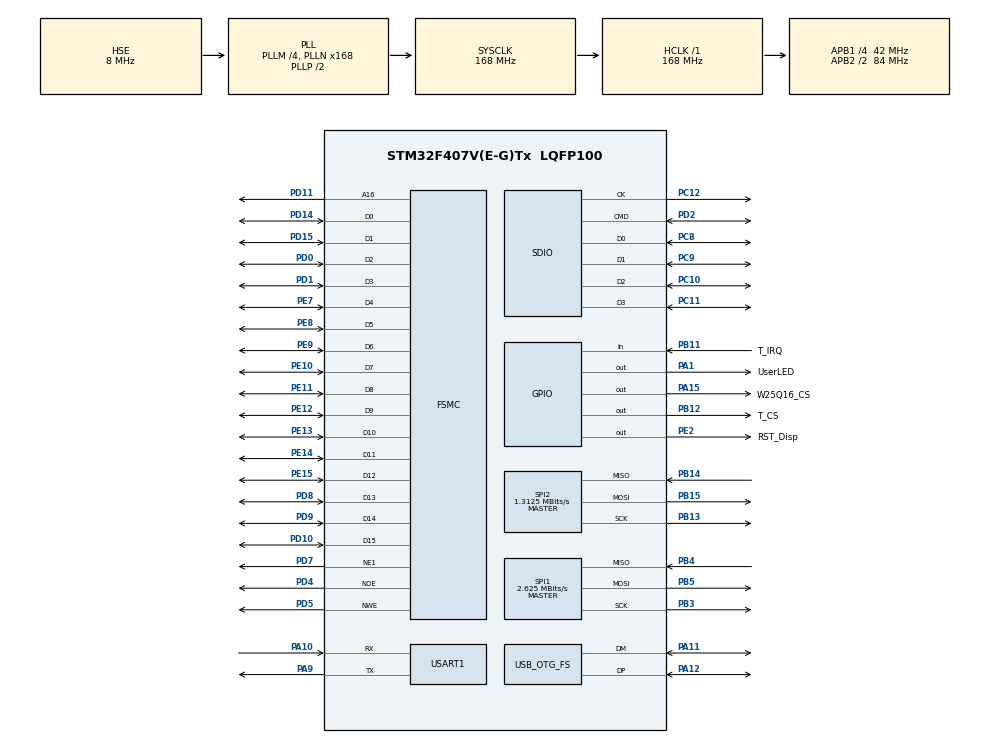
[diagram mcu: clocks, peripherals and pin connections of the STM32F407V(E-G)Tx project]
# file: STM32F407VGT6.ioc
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FATFS._FS_RPATH=1
FATFS._LFN_UNICODE=1
FATFS._MAX_SS=4096
FATFS._USE_LFN=2
FATFS._VOLUMES=2
FSMC.ExtendedAddressSetupTime1=4
FSMC.ExtendedBusTurnAroundDuration1=0
FSMC.ExtendedDataSetupTime1=8
FSMC.ExtendedMode1=FSMC_EXTENDED_MODE_ENABLE
Mcu.Family=STM32F4
Mcu.Name=STM32F407V(E-G)Tx
Mcu.Package=LQFP100
NVIC.OTG_FS_IRQn=true\:0\:0\:false\:false\:true\:false\:true\:true
NVIC.PriorityGroup=NVIC_PRIORITYGROUP_4
NVIC.USART1_IRQn=true\:0\:0\:false\:false\:true\:true\:true\:true
PA1.GPIO_Label=UserLED
PA1.GPIO_PuPd=GPIO_PULLUP
PA1.Signal=GPIO_Output
PA10.Mode=Asynchronous
PA10.Signal=USART1_RX
PA11.Mode=Device_Only
PA11.Signal=USB_OTG_FS_DM
PA12.Mode=Device_Only
PA12.Signal=USB_OTG_FS_DP
PA13.Mode=Serial_Wire
PA13.Signal=SYS_JTMS-SWDIO
PA14.Mode=Serial_Wire
PA14.Signal=SYS_JTCK-SWCLK
PA15.GPIO_Label=W25Q16_CS
PA15.PinState=GPIO_PIN_SET
PA15.Signal=GPIO_Output
PA9.Mode=Asynchronous
PA9.Signal=USART1_TX
PB11.GPIO_Label=T_IRQ
PB11.GPIO_PuPd=GPIO_PULLUP
PB11.Signal=GPIO_Input
PB12.GPIO_Label=T_CS
PB12.PinState=GPIO_PIN_SET
PB12.Signal=GPIO_Output
PB13.Mode=Full_Duplex_Master
PB13.Signal=SPI2_SCK
PB14.Mode=Full_Duplex_Master
PB14.Signal=SPI2_MISO
PB15.Mode=Full_Duplex_Master
PB15.Signal=SPI2_MOSI
PB3.Mode=Full_Duplex_Master
PB3.Signal=SPI1_SCK
PB4.Mode=Full_Duplex_Master
PB4.Signal=SPI1_MISO
PB5.Mode=Full_Duplex_Master
PB5.Signal=SPI1_MOSI
PC10.Mode=SD_4_bits_Wide_bus
PC10.Signal=SDIO_D2
PC11.Mode=SD_4_bits_Wide_bus
PC11.Signal=SDIO_D3
PC12.Mode=SD_4_bits_Wide_bus
PC12.Signal=SDIO_CK
PC14-OSC32_IN.Mode=LSE-External-Oscillator
PC14-OSC32_IN.Signal=RCC_OSC32_IN
PC15-OSC32_OUT.Mode=LSE-External-Oscillator
PC15-OSC32_OUT.Signal=RCC_OSC32_OUT
PC8.Mode=SD_4_bits_Wide_bus
PC8.Signal=SDIO_D0
PC9.Mode=SD_4_bits_Wide_bus
PC9.Signal=SDIO_D1
PD0.Mode=16b-d1
PD0.Signal=FSMC_D2
PD1.Mode=16b-d1
PD1.Signal=FSMC_D3
PD10.Mode=16b-d1
PD10.Signal=FSMC_D15
PD11.Mode=A16_1
PD11.Signal=FSMC_A16
PD14.Mode=16b-d1
PD14.Signal=FSMC_D0
PD15.Mode=16b-d1
PD15.Signal=FSMC_D1
PD2.Mode=SD_4_bits_Wide_bus
PD2.Signal=SDIO_CMD
PD4.Mode=Lcd1
PD4.Signal=FSMC_NOE
PD5.Mode=Lcd1
PD5.Signal=FSMC_NWE
PD7.Mode=NorPsramChipSelect1_1
PD7.Signal=FSMC_NE1
PD8.Mode=16b-d1
PD8.Signal=FSMC_D13
PD9.Mode=16b-d1
PD9.Signal=FSMC_D14
PE10.Mode=16b-d1
PE10.Signal=FSMC_D7
PE11.Mode=16b-d1
PE11.Signal=FSMC_D8
PE12.Mode=16b-d1
PE12.Signal=FSMC_D9
PE13.Mode=16b-d1
PE13.Signal=FSMC_D10
PE14.Mode=16b-d1
PE14.Signal=FSMC_D11
PE15.Mode=16b-d1
PE15.Signal=FSMC_D12
PE2.GPIO_Label=RST_Disp
PE2.PinState=GPIO_PIN_SET
PE2.Signal=GPIO_Output
PE7.Mode=16b-d1
PE7.Signal=FSMC_D4
PE8.Mode=16b-d1
PE8.Signal=FSMC_D5
PE9.Mode=16b-d1
PE9.Signal=FSMC_D6
PH0-OSC_IN.Mode=HSE-External-Oscillator
PH0-OSC_IN.Signal=RCC_OSC_IN
PH1-OSC_OUT.Mode=HSE-External-Oscillator
PH1-OSC_OUT.Signal=RCC_OSC_OUT
ProjectManager.HeapSize=0x200
ProjectManager.StackSize=0x2000
ProjectManager.TargetToolchain=CMake
RCC.48MHZClocksFreq_Value=48000000
RCC.AHBFreq_Value=168000000
RCC.APB1CLKDivider=RCC_HCLK_DIV4
RCC.APB1Freq_Value=42000000
RCC.APB1TimFreq_Value=84000000
RCC.APB2CLKDivider=RCC_HCLK_DIV2
RCC.APB2Freq_Value=84000000
RCC.APB2TimFreq_Value=168000000
RCC.CortexFreq_Value=168000000
RCC.HCLKFreq_Value=168000000
RCC.HSE_VALUE=8000000
RCC.HSI_VALUE=16000000
RCC.PLLM=4
RCC.PLLN=168
RCC.PLLQ=7
RCC.PLLSourceVirtual=RCC_PLLSOURCE_HSE
RCC.RCC_RTC_Clock_Source=RCC_RTCCLKSOURCE_LSE
RCC.RCC_RTC_Clock_SourceVirtual=RCC_RTCCLKSOURCE_LSE
RCC.SYSCLKFreq_VALUE=168000000
RCC.SYSCLKSource=RCC_SYSCLKSOURCE_PLLCLK
RCC.VCOOutputFreq_Value=336000000
SDIO.ClockDiv=0
SPI1.BaudRatePrescaler=SPI_BAUDRATEPRESCALER_32
SPI1.CalculateBaudRate=2.625 MBits/s
SPI1.Direction=SPI_DIRECTION_2LINES
SPI1.Mode=SPI_MODE_MASTER
SPI1.VirtualNSS=VM_NSSSOFT
SPI1.VirtualType=VM_MASTER
SPI2.BaudRatePrescaler=SPI_BAUDRATEPRESCALER_32
SPI2.CalculateBaudRate=1.3125 MBits/s
SPI2.Direction=SPI_DIRECTION_2LINES
SPI2.Mode=SPI_MODE_MASTER
SPI2.VirtualNSS=VM_NSSSOFT
SPI2.VirtualType=VM_MASTER
USART1.VirtualMode=VM_ASYNC
USB_DEVICE.CLASS_NAME_FS=CDC
USB_DEVICE.VirtualMode-CDC_FS=Cdc
USB_DEVICE.VirtualModeFS=Cdc_FS
USB_OTG_FS.VirtualMode=Device_Only
VP_FATFS_VS_SDIO.Mode=SDIO
VP_RTC_VS_RTC_Activate.Mode=RTC_Enabled
VP_RTC_VS_RTC_Calendar.Mode=RTC_Calendar
VP_USB_DEVICE_VS_USB_DEVICE_CDC_FS.Mode=CDC_FS
board=custom

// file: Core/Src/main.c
/* USER CODE BEGIN Header */
/**
  ******************************************************************************
  * @file           : main.c
  * @brief          : Main program body
  ******************************************************************************
  * @attention
  *
  * Copyright (c) 2026 STMicroelectronics.
  * All rights reserved.
  *
  * This software is licensed under terms that can be found in the LICENSE file
  * in the root directory of this software component.
  * If no LICENSE file comes with this software, it is provided AS-IS.
  *
  ******************************************************************************
  */
/* USER CODE END Header */
#include "main.h"
#include "fatfs.h"
#include "usb_device.h"

/* USER CODE BEGIN Includes */
#include "ili9341.h"
#include "touchscreen.h"
#ifdef LCD_PLAYBACK_DIAGNOSTICS
#include "lcd_playback_diagnostics.h"
#else
#include "app_lvgl.h"
#endif
#include "sd_browser.h"
/* USER CODE END Includes */

RTC_HandleTypeDef hrtc;

SD_HandleTypeDef hsd;

SPI_HandleTypeDef hspi1;
SPI_HandleTypeDef hspi2;

UART_HandleTypeDef huart1;

SRAM_HandleTypeDef hsram1;

void SystemClock_Config(void);
static void MX_GPIO_Init(void);
static void MX_SDIO_SD_Init(void);
static void MX_USART1_UART_Init(void);
static void MX_RTC_Init(void);
static void MX_SPI1_Init(void);
static void MX_SPI2_Init(void);
static void MX_FSMC_Init(void);

int main(void)
{

  /* MCU Configuration--------------------------------------------------------*/

  /* Reset of all peripherals, Initializes the Flash interface and the Systick. */
  HAL_Init();

  /* Configure the system clock */
  SystemClock_Config();

  /* Initialize all configured peripherals */
  MX_GPIO_Init();
  MX_SDIO_SD_Init();
  MX_FATFS_Init();
  MX_RTC_Init();
  MX_SPI1_Init();
  MX_SPI2_Init();
  MX_USART1_UART_Init();
  MX_USB_DEVICE_Init();
  MX_FSMC_Init();
  /* USER CODE BEGIN 2 */
  SD_Browser_Init();
  ILI9341_Init();
#ifndef LCD_PLAYBACK_DIAGNOSTICS
  AppLvgl_Init();
#endif
  /* USER CODE END 2 */

  /* Infinite loop */
  while (1)
  {

    /* USER CODE BEGIN 3 */
    SD_Browser_Poll();
#ifdef LCD_PLAYBACK_DIAGNOSTICS
    if (!Touchscreen_OwnsDisplay())
    {
      LcdPlaybackDiagnostics_Poll();
    }
#else
    AppLvgl_Poll(Touchscreen_OwnsDisplay());
#endif
  }
  /* USER CODE END 3 */
}

void SystemClock_Config(void)
{
  RCC_OscInitTypeDef RCC_OscInitStruct = {0};
  RCC_ClkInitTypeDef RCC_ClkInitStruct = {0};

  /** Configure the main internal regulator output voltage
  */
  __HAL_RCC_PWR_CLK_ENABLE();
  __HAL_PWR_VOLTAGESCALING_CONFIG(PWR_REGULATOR_VOLTAGE_SCALE1);

  /** Initializes the RCC Oscillators according to the specified parameters
  * in the RCC_OscInitTypeDef structure.
  */
  RCC_OscInitStruct.OscillatorType = RCC_OSCILLATORTYPE_HSE|RCC_OSCILLATORTYPE_LSE;
  RCC_OscInitStruct.HSEState = RCC_HSE_ON;
  RCC_OscInitStruct.LSEState = RCC_LSE_ON;
  RCC_OscInitStruct.PLL.PLLState = RCC_PLL_ON;
  RCC_OscInitStruct.PLL.PLLSource = RCC_PLLSOURCE_HSE;
  RCC_OscInitStruct.PLL.PLLM = 4;
  RCC_OscInitStruct.PLL.PLLN = 168;
  RCC_OscInitStruct.PLL.PLLP = RCC_PLLP_DIV2;
  RCC_OscInitStruct.PLL.PLLQ = 7;
  if (HAL_RCC_OscConfig(&RCC_OscInitStruct) != HAL_OK)
  {
    Error_Handler();
  }

  /** Initializes the CPU, AHB and APB buses clocks
  */
  RCC_ClkInitStruct.ClockType = RCC_CLOCKTYPE_HCLK|RCC_CLOCKTYPE_SYSCLK
                              |RCC_CLOCKTYPE_PCLK1|RCC_CLOCKTYPE_PCLK2;
  RCC_ClkInitStruct.SYSCLKSource = RCC_SYSCLKSOURCE_PLLCLK;
  RCC_ClkInitStruct.AHBCLKDivider = RCC_SYSCLK_DIV1;
  RCC_ClkInitStruct.APB1CLKDivider = RCC_HCLK_DIV4;
  RCC_ClkInitStruct.APB2CLKDivider = RCC_HCLK_DIV2;

  if (HAL_RCC_ClockConfig(&RCC_ClkInitStruct, FLASH_LATENCY_5) != HAL_OK)
  {
    Error_Handler();
  }
}

static void MX_RTC_Init(void)
{

  RTC_TimeTypeDef sTime = {0};
  RTC_DateTypeDef sDate = {0};

  /** Initialize RTC Only
  */
  hrtc.Instance = RTC;
  hrtc.Init.HourFormat = RTC_HOURFORMAT_24;
  hrtc.Init.AsynchPrediv = 127;
  hrtc.Init.SynchPrediv = 255;
  hrtc.Init.OutPut = RTC_OUTPUT_DISABLE;
  hrtc.Init.OutPutPolarity = RTC_OUTPUT_POLARITY_HIGH;
  hrtc.Init.OutPutType = RTC_OUTPUT_TYPE_OPENDRAIN;
  if (HAL_RTC_Init(&hrtc) != HAL_OK)
  {
    Error_Handler();
  }

  /** Initialize RTC and set the Time and Date
  */
  sTime.Hours = 0x0;
  sTime.Minutes = 0x0;
  sTime.Seconds = 0x0;
  sTime.DayLightSaving = RTC_DAYLIGHTSAVING_NONE;
  sTime.StoreOperation = RTC_STOREOPERATION_RESET;
  if (HAL_RTC_SetTime(&hrtc, &sTime, RTC_FORMAT_BCD) != HAL_OK)
  {
    Error_Handler();
  }
  sDate.WeekDay = RTC_WEEKDAY_MONDAY;
  sDate.Month = RTC_MONTH_JANUARY;
  sDate.Date = 0x1;
  sDate.Year = 0x0;

  if (HAL_RTC_SetDate(&hrtc, &sDate, RTC_FORMAT_BCD) != HAL_OK)
  {
    Error_Handler();
  }

}

static void MX_SDIO_SD_Init(void)
{

  hsd.Instance = SDIO;
  hsd.Init.ClockEdge = SDIO_CLOCK_EDGE_RISING;
  hsd.Init.ClockBypass = SDIO_CLOCK_BYPASS_DISABLE;
  hsd.Init.ClockPowerSave = SDIO_CLOCK_POWER_SAVE_DISABLE;
  hsd.Init.BusWide = SDIO_BUS_WIDE_1B;
  hsd.Init.HardwareFlowControl = SDIO_HARDWARE_FLOW_CONTROL_DISABLE;
  hsd.Init.ClockDiv = 0;

}

static void MX_SPI1_Init(void)
{

  /* SPI1 parameter configuration*/
  hspi1.Instance = SPI1;
  hspi1.Init.Mode = SPI_MODE_MASTER;
  hspi1.Init.Direction = SPI_DIRECTION_2LINES;
  hspi1.Init.DataSize = SPI_DATASIZE_8BIT;
  hspi1.Init.CLKPolarity = SPI_POLARITY_LOW;
  hspi1.Init.CLKPhase = SPI_PHASE_1EDGE;
  hspi1.Init.NSS = SPI_NSS_SOFT;
  hspi1.Init.BaudRatePrescaler = SPI_BAUDRATEPRESCALER_32;
  hspi1.Init.FirstBit = SPI_FIRSTBIT_MSB;
  hspi1.Init.TIMode = SPI_TIMODE_DISABLE;
  hspi1.Init.CRCCalculation = SPI_CRCCALCULATION_DISABLE;
  hspi1.Init.CRCPolynomial = 10;
  if (HAL_SPI_Init(&hspi1) != HAL_OK)
  {
    Error_Handler();
  }

}

static void MX_SPI2_Init(void)
{

  /* SPI2 parameter configuration*/
  hspi2.Instance = SPI2;
  hspi2.Init.Mode = SPI_MODE_MASTER;
  hspi2.Init.Direction = SPI_DIRECTION_2LINES;
  hspi2.Init.DataSize = SPI_DATASIZE_8BIT;
  hspi2.Init.CLKPolarity = SPI_POLARITY_LOW;
  hspi2.Init.CLKPhase = SPI_PHASE_1EDGE;
  hspi2.Init.NSS = SPI_NSS_SOFT;
  hspi2.Init.BaudRatePrescaler = SPI_BAUDRATEPRESCALER_32;
  hspi2.Init.FirstBit = SPI_FIRSTBIT_MSB;
  hspi2.Init.TIMode = SPI_TIMODE_DISABLE;
  hspi2.Init.CRCCalculation = SPI_CRCCALCULATION_DISABLE;
  hspi2.Init.CRCPolynomial = 10;
  if (HAL_SPI_Init(&hspi2) != HAL_OK)
  {
    Error_Handler();
  }

}

static void MX_USART1_UART_Init(void)
{

  huart1.Instance = USART1;
  huart1.Init.BaudRate = 115200;
  huart1.Init.WordLength = UART_WORDLENGTH_8B;
  huart1.Init.StopBits = UART_STOPBITS_1;
  huart1.Init.Parity = UART_PARITY_NONE;
  huart1.Init.Mode = UART_MODE_TX_RX;
  huart1.Init.HwFlowCtl = UART_HWCONTROL_NONE;
  huart1.Init.OverSampling = UART_OVERSAMPLING_16;
  if (HAL_UART_Init(&huart1) != HAL_OK)
  {
    Error_Handler();
  }

}

static void MX_GPIO_Init(void)
{
  GPIO_InitTypeDef GPIO_InitStruct = {0};

  /* GPIO Ports Clock Enable */
  __HAL_RCC_GPIOE_CLK_ENABLE();
  __HAL_RCC_GPIOC_CLK_ENABLE();
  __HAL_RCC_GPIOH_CLK_ENABLE();
  __HAL_RCC_GPIOA_CLK_ENABLE();
  __HAL_RCC_GPIOD_CLK_ENABLE();
  __HAL_RCC_GPIOB_CLK_ENABLE();

  /*Configure GPIO pin Output Level */
  HAL_GPIO_WritePin(RST_Disp_GPIO_Port, RST_Disp_Pin, GPIO_PIN_SET);
  HAL_GPIO_WritePin(UserLED_GPIO_Port, UserLED_Pin, GPIO_PIN_RESET);
  HAL_GPIO_WritePin(W25Q16_CS_GPIO_Port, W25Q16_CS_Pin, GPIO_PIN_SET);
  HAL_GPIO_WritePin(T_CS_GPIO_Port, T_CS_Pin, GPIO_PIN_SET);

  /*Configure GPIO pin : UserLED_Pin */
  GPIO_InitStruct.Pin = UserLED_Pin;
  GPIO_InitStruct.Mode = GPIO_MODE_OUTPUT_PP;
  GPIO_InitStruct.Pull = GPIO_PULLUP;
  GPIO_InitStruct.Speed = GPIO_SPEED_FREQ_LOW;
  HAL_GPIO_Init(UserLED_GPIO_Port, &GPIO_InitStruct);

  /*Configure GPIO pin : W25Q16_CS_Pin */
  GPIO_InitStruct.Pin = W25Q16_CS_Pin;
  GPIO_InitStruct.Mode = GPIO_MODE_OUTPUT_PP;
  GPIO_InitStruct.Pull = GPIO_NOPULL;
  GPIO_InitStruct.Speed = GPIO_SPEED_FREQ_LOW;
  HAL_GPIO_Init(W25Q16_CS_GPIO_Port, &GPIO_InitStruct);

  GPIO_InitStruct.Pin = RST_Disp_Pin;
  HAL_GPIO_Init(RST_Disp_GPIO_Port, &GPIO_InitStruct);

  GPIO_InitStruct.Pin = T_CS_Pin;
  HAL_GPIO_Init(T_CS_GPIO_Port, &GPIO_InitStruct);

  GPIO_InitStruct.Pin = T_IRQ_Pin;
  GPIO_InitStruct.Mode = GPIO_MODE_INPUT;
  GPIO_InitStruct.Pull = GPIO_PULLUP;
  HAL_GPIO_Init(T_IRQ_GPIO_Port, &GPIO_InitStruct);

}

/* FSMC initialization function */
static void MX_FSMC_Init(void)
{

  FSMC_NORSRAM_TimingTypeDef Timing = {0};
  FSMC_NORSRAM_TimingTypeDef WriteTiming = {0};

  /** Perform the SRAM1 memory initialization sequence
  */
  hsram1.Instance = FSMC_NORSRAM_DEVICE;
  hsram1.Extended = FSMC_NORSRAM_EXTENDED_DEVICE;
  /* hsram1.Init */
  hsram1.Init.NSBank = FSMC_NORSRAM_BANK1;
  hsram1.Init.DataAddressMux = FSMC_DATA_ADDRESS_MUX_DISABLE;
  hsram1.Init.MemoryType = FSMC_MEMORY_TYPE_SRAM;
  hsram1.Init.MemoryDataWidth = FSMC_NORSRAM_MEM_BUS_WIDTH_16;
  hsram1.Init.BurstAccessMode = FSMC_BURST_ACCESS_MODE_DISABLE;
  hsram1.Init.WaitSignalPolarity = FSMC_WAIT_SIGNAL_POLARITY_LOW;
  hsram1.Init.WrapMode = FSMC_WRAP_MODE_DISABLE;
  hsram1.Init.WaitSignalActive = FSMC_WAIT_TIMING_BEFORE_WS;
  hsram1.Init.WriteOperation = FSMC_WRITE_OPERATION_ENABLE;
  hsram1.Init.WaitSignal = FSMC_WAIT_SIGNAL_DISABLE;
  hsram1.Init.ExtendedMode = FSMC_EXTENDED_MODE_ENABLE;
  hsram1.Init.AsynchronousWait = FSMC_ASYNCHRONOUS_WAIT_DISABLE;
  hsram1.Init.WriteBurst = FSMC_WRITE_BURST_DISABLE;
  hsram1.Init.PageSize = FSMC_PAGE_SIZE_NONE;
  /* Timing */
  Timing.AddressSetupTime = 15;
  Timing.AddressHoldTime = 15;
  Timing.DataSetupTime = 255;
  Timing.BusTurnAroundDuration = 15;
  Timing.CLKDivision = 16;
  Timing.DataLatency = 17;
  Timing.AccessMode = FSMC_ACCESS_MODE_A;
  /* Separate short write cycles from the slower ID reads. */
  WriteTiming = Timing;
  WriteTiming.AddressSetupTime = 4;
  WriteTiming.DataSetupTime = 8;
  WriteTiming.BusTurnAroundDuration = 0;

  if (HAL_SRAM_Init(&hsram1, &Timing, &WriteTiming) != HAL_OK)
  {
    Error_Handler( );
  }

}

void Error_Handler(void)
{
  __disable_irq();
  while (1)
  {
  }
}
